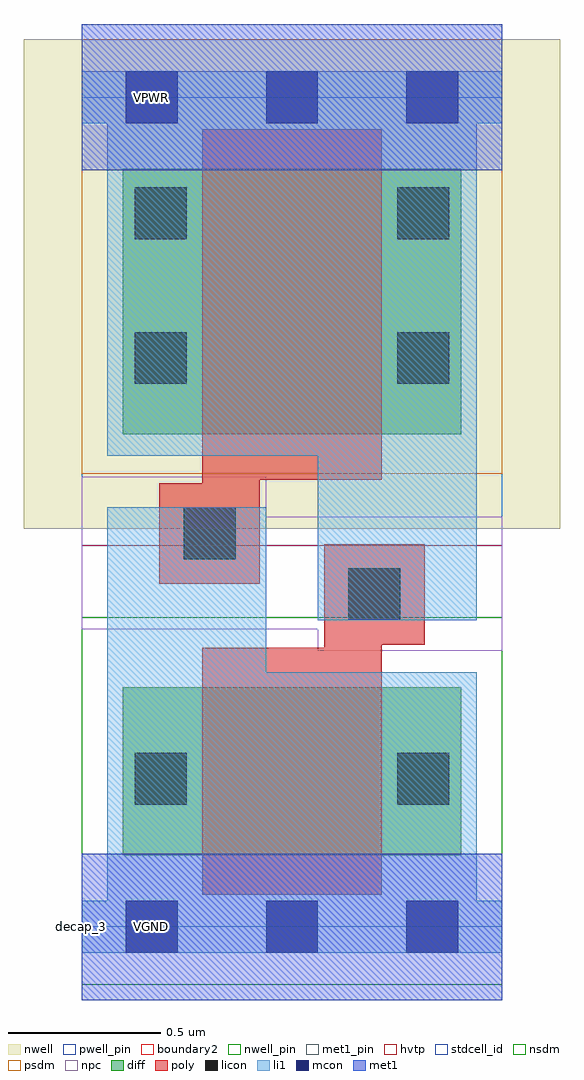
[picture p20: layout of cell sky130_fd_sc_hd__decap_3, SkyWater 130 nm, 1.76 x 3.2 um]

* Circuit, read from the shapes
.subckt sky130_fd_sc_hd__decap_3 VGND VNB VPB VPWR
XM1 VGND VPWR VGND VNB sky130_fd_pr__nfet_01v8 w=0.55 l=0.59
XM2 VPWR VGND VPWR VPB sky130_fd_pr__pfet_01v8_hvt w=0.87 l=0.59
.ends

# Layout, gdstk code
import gdstk
lib = gdstk.Library(unit=1e-6, precision=1e-09)
def R(c, l, rs):  # rectangles x0, y0, x1, y1
    for r in rs: c.add(gdstk.rectangle(r[:2], r[2:], *l))
def A(c, l, x, y, w, h, nx, ny, dx, dy):  # array of equal rectangles
    R(c, l, [(x+i*dx, y+j*dy, x+i*dx+w, y+j*dy+h) for i in range(nx) for j in range(ny)])
def P(c, l, *ps):  # polygons
    for p in ps: c.add(gdstk.Polygon(p, *l))
nwell_pin = (64, 16)
nwell = (64, 20)
diff = (65, 20)
poly = (66, 20)
licon = (66, 44)
li1 = (67, 20)
mcon = (67, 44)
met1_pin = (68, 16)
met1 = (68, 20)
hvtp = (78, 44)
stdcell_id = (81, 4)
nsdm = (93, 44)
psdm = (94, 20)
npc = (95, 20)
pwell_pin = (122, 16)
boundary2 = (236, 0)

sky130_fd_sc_hd__decap_3 = lib.new_cell('sky130_fd_sc_hd__decap_3')
R(sky130_fd_sc_hd__decap_3, nwell_pin, [(0.145,2.635,0.315,2.805)])
R(sky130_fd_sc_hd__decap_3, nwell, [(-0.19,1.305,1.57,2.91)])
R(sky130_fd_sc_hd__decap_3, diff, [(0.135,0.235,1.245,0.785), (0.135,1.615,1.245,2.485)])
P(sky130_fd_sc_hd__decap_3, poly, [(0.395,0.105),(0.395,0.915),(0.795,0.915),(0.795,1.255),(1.125,1.255),(1.125,0.925),(0.985,0.925),(0.985,0.105)],
  [(0.255,1.125),(0.255,1.455),(0.395,1.455),(0.395,2.615),(0.985,2.615),(0.985,1.465),(0.585,1.465),(0.585,1.125)])
R(sky130_fd_sc_hd__decap_3, licon, [(0.175,0.4,0.345,0.57), (1.035,0.4,1.205,0.57), (0.875,1.005,1.045,1.175), (0.335,1.205,0.505,1.375), (0.175,1.78,0.345,1.95), (1.035,1.78,1.205,1.95), (0.175,2.255,0.345,2.425), (1.035,2.255,1.205,2.425)])
P(sky130_fd_sc_hd__decap_3, li1, [(0.775,1.005),(0.775,1.545),(0.085,1.545),(0.085,2.635),(0,2.635),(0,2.805),(1.38,2.805),(1.38,2.635),(1.295,2.635),(1.295,1.005)],
  [(0,-0.085),(0,0.085),(0.085,0.085),(0.085,1.375),(0.605,1.375),(0.605,0.835),(1.295,0.835),(1.295,0.085),(1.38,0.085),(1.38,-0.085)])
A(sky130_fd_sc_hd__decap_3, mcon, 0.145, -0.085, 0.17, 0.17, 3, 2, 0.46, 2.72)
R(sky130_fd_sc_hd__decap_3, met1_pin, [(0.145,-0.085,0.315,0.085), (0.145,2.635,0.315,2.805)])
R(sky130_fd_sc_hd__decap_3, hvtp, [(0,1.25,1.38,2.72)])
R(sky130_fd_sc_hd__decap_3, stdcell_id, [(0,0,1.38,2.72)])
R(sky130_fd_sc_hd__decap_3, nsdm, [(0,-0.19,1.38,1.015)])
R(sky130_fd_sc_hd__decap_3, psdm, [(0,1.485,1.38,2.91)])
P(sky130_fd_sc_hd__decap_3, npc, [(0.775,0.905),(0.775,0.975),(0,0.975),(0,1.475),(0.605,1.475),(0.605,1.345),(1.38,1.345),(1.38,0.905)])
R(sky130_fd_sc_hd__decap_3, pwell_pin, [(0.145,-0.085,0.315,0.085)])
R(sky130_fd_sc_hd__decap_3, boundary2, [(0,0,1.38,2.72)])
sky130_fd_sc_hd__decap_3.add(gdstk.FlexPath([(0,2.72),(1.38,2.72)], 0.48, ends="flush", simple_path=True, layer=68, datatype=20))  # met1
sky130_fd_sc_hd__decap_3.add(gdstk.FlexPath([(0,0),(1.38,0)], 0.48, ends="flush", simple_path=True, layer=68, datatype=20))  # met1
sky130_fd_sc_hd__decap_3.add(gdstk.Label('VPWR', (0.23,2.72), layer=68, texttype=5))
sky130_fd_sc_hd__decap_3.add(gdstk.Label('VGND', (0.23,0), layer=68, texttype=5))
sky130_fd_sc_hd__decap_3.add(gdstk.Label('VPB', (0.23,2.72), layer=64, texttype=5))
sky130_fd_sc_hd__decap_3.add(gdstk.Label('VNB', (0.23,0), layer=64, texttype=59))
sky130_fd_sc_hd__decap_3.add(gdstk.Label('decap_3', (0,0), layer=83, texttype=44))

lib.write_gds('sky130_fd_sc_hd__decap_3.gds')
